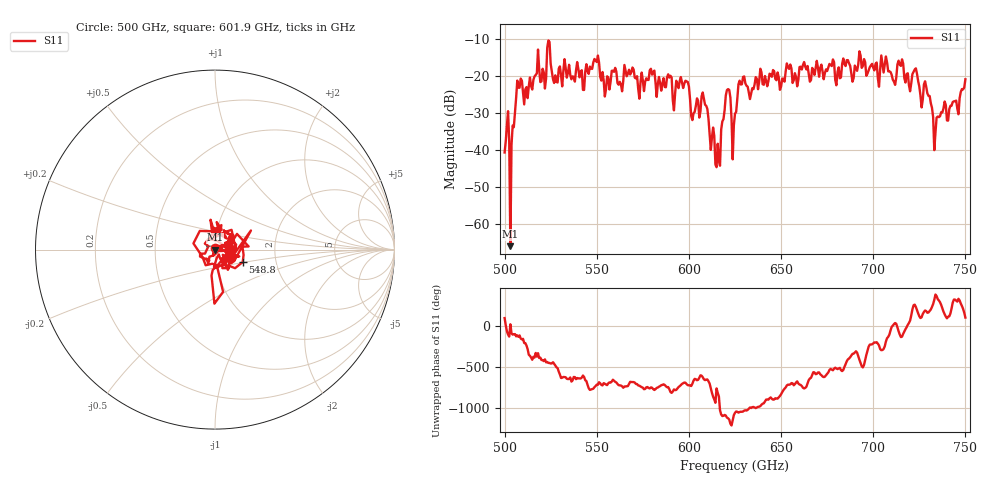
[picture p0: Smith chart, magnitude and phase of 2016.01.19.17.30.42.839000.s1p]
!Created with skrf (http://scikit-rf.org).
# GHz S RI R 50.0
!freq ReS11 ImS11
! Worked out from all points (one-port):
!   401 points, 500 GHz to 750 GHz, reference 50 ohm
!   lowest |S11| = -66.1 dB at 503.1 GHz (marker M1), VSWR 1.00, Z = 50 + j0.0156 ohm
!   |S11| at or under -10 dB: start of sweep to end of sweep
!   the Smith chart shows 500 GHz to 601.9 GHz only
!   S11 on the Smith chart (normalised r, x): 500 GHz: 1.00, +0.02; 548.8 GHz: 1.35, -0.19; 601.9 GHz: 1.05, +0.02
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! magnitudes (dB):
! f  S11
! 500 GHz  -40.7
! 503.1 GHz  -66.1
! 504.4 GHz  -33.4
! 505.6 GHz  -30.0
! 508.1 GHz  -23.2
! 521.2 GHz  -19.1
! 524.4 GHz  -10.8
! 527.5 GHz  -19.9
! 531.2 GHz  -22.8
! 548.8 GHz  -15.4
! 562.5 GHz  -21.6
! 568.8 GHz  -19.0
! 593.8 GHz  -22.2
! 598.8 GHz  -21.5
! 601.9 GHz  -32.0
! 608.1 GHz  -26.1
! 615.6 GHz  -38.4
! 620.6 GHz  -23.8
! 625 GHz  -30.2
! 628.8 GHz  -22.3
! 656.2 GHz  -21.9
! 687.5 GHz  -17.3
! 711.2 GHz  -21.6
! 715 GHz  -17.3
! 718.8 GHz  -19.3
! 728.8 GHz  -23.0
! 733.8 GHz  -35.5
! 750 GHz  -20.9
